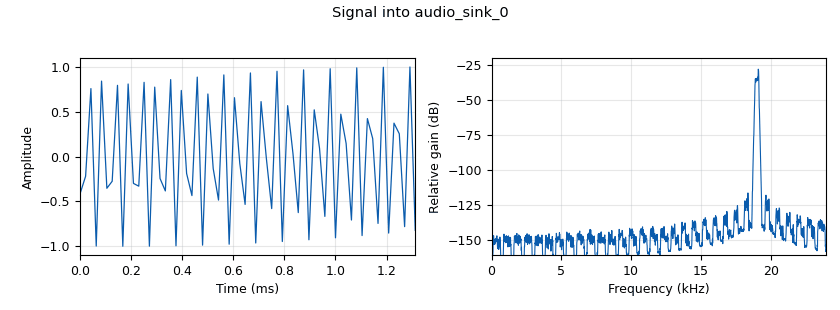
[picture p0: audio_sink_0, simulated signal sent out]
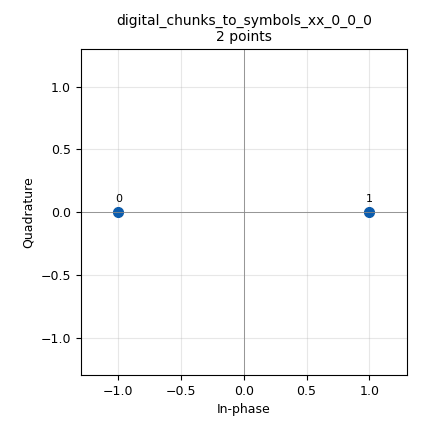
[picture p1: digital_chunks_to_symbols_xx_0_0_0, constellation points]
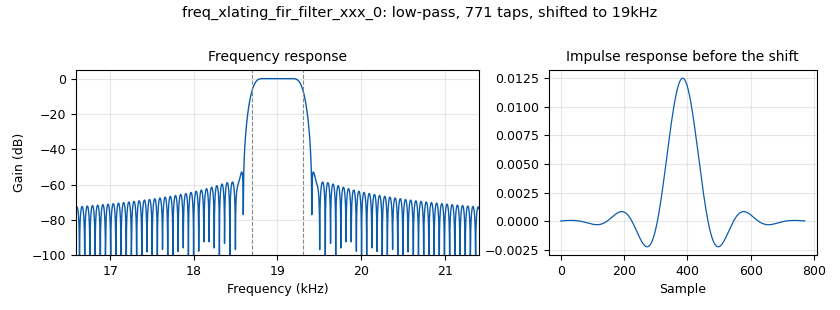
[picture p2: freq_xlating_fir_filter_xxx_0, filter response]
options:
  parameters:
    generate_options: qt_gui
    id: tx_rx
    output_language: python
    title: Not titled yet
  states: {}

blocks:
- name: ccsds_dec
  id: variable_cc_decoder_def
  parameters:
    framebits: frame_size*8
    k: k
    mode: fec.CC_STREAMING
    ndim: '0'
    padding: 'False'
    polys: polys
    rate: rate
    state_end: '-1'
    state_start: '0'
  states: {}
- name: ccsds_enc
  id: variable_cc_encoder_def
  parameters:
    framebits: frame_size*8
    k: k
    mode: fec.CC_STREAMING
    ndim: '0'
    padding: 'False'
    polys: polys
    rate: rate
    state_start: '0'
  states: {}
- name: freq
  id: variable
  parameters:
    value: '19000'
  states: {}
- name: k
  id: variable
  parameters:
    value: '7'
  states: {}
- name: lp_taps
  id: variable_low_pass_filter_taps
  parameters:
    cutoff_freq: '300'
    gain: '1.0'
    samp_rate: samp_rate
    width: '150'
    win: window.WIN_HAMMING
  states: {}
- name: polys
  id: variable
  parameters:
    value: '[109, 79]'
  states: {}
- name: rate
  id: variable
  parameters:
    value: '2'
  states: {}
- name: samp_rate
  id: variable
  parameters:
    value: '48000'
  states: {}
- name: audio_sink_0
  id: audio_sink
  parameters:
    samp_rate: samp_rate
  states: {}
- name: audio_source_0
  id: audio_source
  parameters:
    samp_rate: samp_rate
  states: {}
- name: blocks_complex_to_real_0
  id: blocks_complex_to_real
  parameters: {}
  states: {}
- name: blocks_file_sink_0_0_1
  id: blocks_file_sink
  parameters:
    file: rx.dat
    type: byte
    unbuffered: 'True'
  states: {}
- name: blocks_float_to_complex_0
  id: blocks_float_to_complex
  parameters: {}
  states: {}
- name: blocks_packed_to_unpacked_xx_1
  id: blocks_packed_to_unpacked_xx
  parameters:
    bits_per_chunk: '1'
    endianness: gr.GR_MSB_FIRST
    type: byte
  states: {}
- name: blocks_rotator_cc_0
  id: blocks_rotator_cc
  parameters:
    phase_inc: 2 * math.pi * freq / samp_rate
  states: {}
- name: blocks_vector_source_x_0
  id: blocks_vector_source_x
  parameters:
    repeat: 'True'
    type: byte
    vector: '[ord(c) for c in "Hello world! flag{foobar} "]'
  states: {}
- name: digital_chunks_to_symbols_xx_0_0_0
  id: digital_chunks_to_symbols_xx
  parameters:
    dimension: '1'
    in_type: byte
    out_type: float
    symbol_table: '[-1.0, 1.0]'
  states: {}
- name: digital_gfsk_demod_0
  id: digital_gfsk_demod
  parameters:
    freq_error: '0.0'
    gain_mu: '0.175'
    mu: '0.5'
    omega_relative_limit: '0.005'
    samples_per_symbol: '8'
    sensitivity: '1.0'
  states: {}
- name: digital_gfsk_mod_0
  id: digital_gfsk_mod
  parameters:
    bt: '0.35'
    do_unpack: 'False'
    samples_per_symbol: '8'
    sensitivity: '1.0'
  states: {}
- name: fec_extended_decoder_0_0_0
  id: fec_extended_decoder
  parameters:
    decoder_list: ccsds_dec
    puncpat: '''11'''
    threadtype: none
  states: {}
- name: fec_extended_encoder_0
  id: fec_extended_encoder
  parameters:
    encoder_list: ccsds_enc
    puncpat: '''11'''
    threadtype: none
  states: {}
- name: frame_size
  id: parameter
  parameters:
    label: Frame Size
    type: intx
    value: '30'
  states: {}
- name: freq_xlating_fir_filter_xxx_0
  id: freq_xlating_fir_filter_xxx
  parameters:
    center_freq: freq
    decim: '64'
    samp_rate: samp_rate
    taps: lp_taps
    type: ccc
  states: {}
- name: import_0
  id: import
  parameters:
    imports: import math
  states: {}
- name: qtgui_time_sink_x_1
  id: qtgui_time_sink_x
  parameters:
    size: '1024'
    srate: samp_rate / 64
    type: complex
  states: {}
- name: rational_resampler_xxx_0
  id: rational_resampler_xxx
  parameters:
    decim: '1'
    interp: '64'
    type: ccc
  states: {}

connections:
- [audio_source_0, '0', blocks_float_to_complex_0, '0']
- [blocks_complex_to_real_0, '0', audio_sink_0, '0']
- [blocks_float_to_complex_0, '0', freq_xlating_fir_filter_xxx_0, '0']
- [blocks_packed_to_unpacked_xx_1, '0', fec_extended_encoder_0, '0']
- [blocks_rotator_cc_0, '0', blocks_complex_to_real_0, '0']
- [blocks_vector_source_x_0, '0', blocks_packed_to_unpacked_xx_1, '0']
- [digital_chunks_to_symbols_xx_0_0_0, '0', fec_extended_decoder_0_0_0, '0']
- [digital_gfsk_demod_0, '0', digital_chunks_to_symbols_xx_0_0_0, '0']
- [digital_gfsk_mod_0, '0', rational_resampler_xxx_0, '0']
- [fec_extended_decoder_0_0_0, '0', blocks_file_sink_0_0_1, '0']
- [fec_extended_encoder_0, '0', digital_gfsk_mod_0, '0']
- [freq_xlating_fir_filter_xxx_0, '0', digital_gfsk_demod_0, '0']
- [freq_xlating_fir_filter_xxx_0, '0', qtgui_time_sink_x_1, '0']
- [rational_resampler_xxx_0, '0', blocks_rotator_cc_0, '0']

metadata:
  file_format: 1
  grc_version: 3.10.4.0
